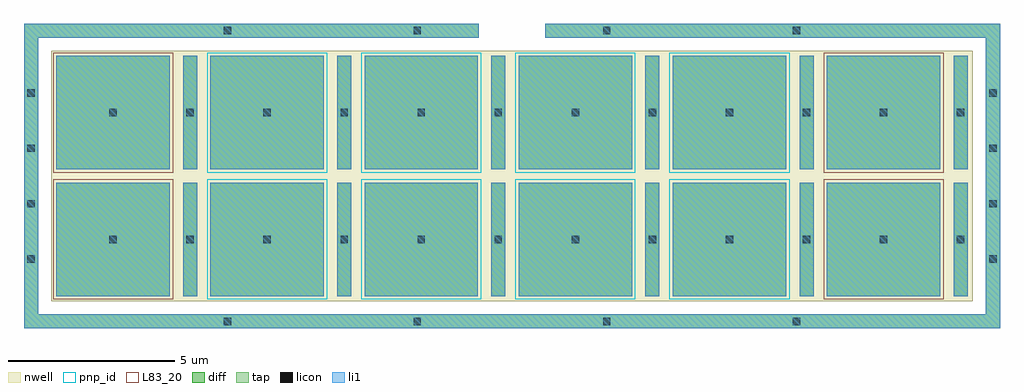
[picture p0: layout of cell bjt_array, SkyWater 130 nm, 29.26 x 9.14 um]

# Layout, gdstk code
import gdstk
lib = gdstk.Library(unit=1e-6, precision=1e-09)
def R(c, l, rs):  # rectangles x0, y0, x1, y1
    for r in rs: c.add(gdstk.rectangle(r[:2], r[2:], *l))
def A(c, l, x, y, w, h, nx, ny, dx, dy):  # array of equal rectangles
    R(c, l, [(x+i*dx, y+j*dy, x+i*dx+w, y+j*dy+h) for i in range(nx) for j in range(ny)])
def P(c, l, *ps):  # polygons
    for p in ps: c.add(gdstk.Polygon(p, *l))
nwell = (64, 20)
diff = (65, 20)
tap = (65, 44)
licon = (66, 44)
li1 = (67, 20)
pnp_id = (82, 44)
L83_20 = (83, 20)

bjt_array = lib.new_cell('bjt_array')
R(bjt_array, nwell, [(-4.77,-0.15,22.85,7.35)])
A(bjt_array, diff, -4.62, 0, 3.4, 3.4, 6, 2, 4.62, 3.8)
A(bjt_array, diff, -0.82, 0, 0.42, 3.4, 6, 2, 4.62, 3.8)
P(bjt_array, diff, [(-5.59,-0.97),(-5.59,8.17),(8.04,8.17),(8.04,7.75),(-5.17,7.75),(-5.17,-0.55),(23.25,-0.55),(23.25,7.75),(10.04,7.75),(10.04,8.17),(23.67,8.17),(23.67,-0.97)])
A(bjt_array, tap, -0.82, 0, 0.42, 3.4, 6, 2, 4.62, 3.8)
A(bjt_array, licon, 0.404, -0.87, 0.22, 0.22, 4, 2, 5.684, 8.72)
A(bjt_array, licon, -5.49, 1, 0.22, 0.22, 1, 4, 0, 1.66)
A(bjt_array, licon, 23.35, 1, 0.22, 0.22, 1, 4, 0, 1.66)
A(bjt_array, licon, -3.03, 1.59, 0.22, 0.22, 12, 2, 2.31, 3.8)
A(bjt_array, li1, -4.62, 0, 3.4, 3.4, 6, 2, 4.62, 3.8)
A(bjt_array, li1, -0.82, 0, 0.42, 3.4, 6, 2, 4.62, 3.8)
P(bjt_array, li1, [(-5.59,-0.97),(-5.59,8.17),(8.04,8.17),(8.04,7.75),(-5.17,7.75),(-5.17,-0.55),(23.25,-0.55),(23.25,7.75),(10.04,7.75),(10.04,8.17),(23.67,8.17),(23.67,-0.97)])
A(bjt_array, pnp_id, -4.72, -0.1, 3.6, 3.6, 6, 2, 4.62, 3.8)
R(bjt_array, L83_20, [(-4.72,-0.1,-1.12,3.5), (18.38,-0.1,21.98,3.5), (-4.72,3.7,-1.12,7.3), (18.38,3.7,21.98,7.3)])

lib.write_gds('bjt_array.gds')
